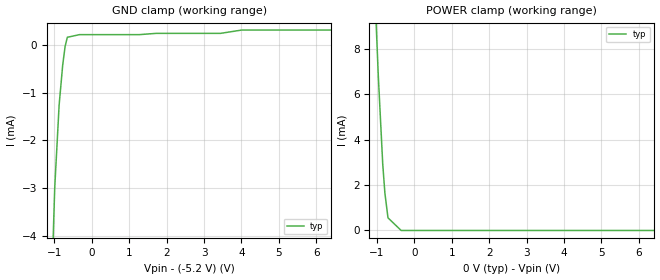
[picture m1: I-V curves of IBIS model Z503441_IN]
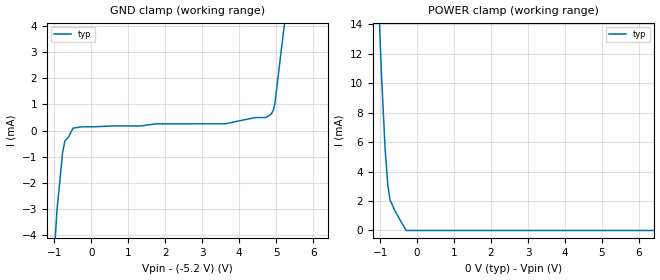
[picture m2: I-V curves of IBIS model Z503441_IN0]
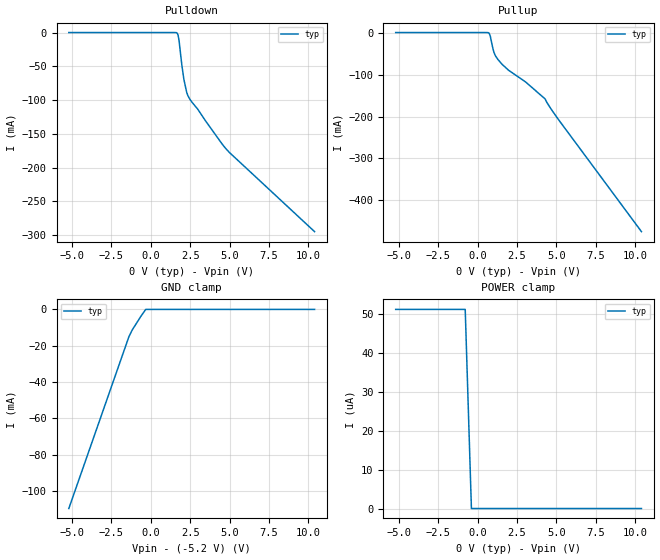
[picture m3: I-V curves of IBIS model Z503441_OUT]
| YOU ARE ONLY AUTHORIZED TO USE THIS SOFTWARE
| ACCORDING TO LICENSOR'S LICENSE RESTRICTIONS.
[IBIS Ver] 3.1
[File Name] mc10h113p.ibs
[File Rev] 2.0
[Source] Measured and created by ICX Technology
[Date] Friday 7/14/00 9:07:50 AM
[Copyright]
| (C) COPYRIGHT 1993-2000
| MENTOR GRAPHICS CORPORATION
| ICX STANDARD LIBRARY, ICX PROJECT MODELING,
| ICX CUSTOM MODELING, ICX VENDOR MODEL
| ALL RIGHTS RESERVED.
| THE FOLLOWING ARE TRADEMARKS OR SERVICE MARKS OF
| MENTOR GRAPHICS CORPORATION:ICX (R), ICX STANDARD
| LIBRARY(R), ICX PROJECT MODELING(R), ICX CUSTOM
| MODELING(R), qualityIBIS(TM), MODELVIEWER(TM),
| AND MODELEDITOR(TM)
| ALL COPIES OF SOFTWARE, INCLUDING BUT NOT LIMITED TO
| ANY MODIFICATIONS, ENHANCEMENTS OR DERIVATIVE WORKS,
| MUST CONTAIN ALL MENTOR GRAPHICS CORPORATION'S
| NOTICES AND LEGENDS, INCLUDING THOSE EMBEDDED IN
| SOFTWARE AND THOSE AFFIXED TO SOFTWARE MEDIUM
| AND CONTAINER, AS RECEIVED FROM MENTOR GRAPHICS
| CORPORATION.
|  ZAP Model Builder 2.7
[Component] MC10H113P
[Manufacturer] OnSemiconductor
[Package]
| variable   typ   min   max
R_pkg  .212ohms NA NA
L_pkg  4.758nH NA NA
C_pkg  1.143pF NA NA
[Pin] signal_name  model_name  R_pin  L_pin C_pin
1 VCC1 GND .224 7.258n 1.578p
2 AOUT Z503441_OUT .216 5.258n 1.288p
3 BOUT Z503441_OUT .208 3.758n .998p
4 AIN Z503441_IN .2 2.758n .708p
5 AIN Z503441_IN .2 2.758n .708p
6 BIN Z503441_IN .208 3.758n .998p
7 BIN Z503441_IN .216 5.258n 1.288p
8 VEE POWER .224 7.258n 1.578p
9 _ENABLE Z503441_IN0 .224 7.258n 1.578p
10 CIN Z503441_IN .216 5.258n 1.288p
11 CIN Z503441_IN .208 3.758n .998p
12 DIN Z503441_IN .2 2.758n .708p
13 DIN Z503441_IN .2 2.758n .708p
14 COUT Z503441_OUT .208 3.758n .998p
15 DOUT Z503441_OUT .216 5.258n 1.288p
16 VCC2 GND .224 7.258n 1.578p
| Models and submodels in the file (3): Z503441_IN (Input_ECL), Z503441_IN0 (Input_ECL), Z503441_OUT (Output_ECL)
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| (C) COPYRIGHT 1993-2000
| MENTOR GRAPHICS CORPORATION
| ICX STANDARD LIBRARY, ICX PROJECT MODELING,
| ICX CUSTOM MODELING, ICX VENDOR MODEL
| ALL RIGHTS RESERVED.
| THE FOLLOWING ARE TRADEMARKS OR SERVICE MARKS OF
| MENTOR GRAPHICS CORPORATION:ICX (R), ICX STANDARD
| LIBRARY(R), ICX PROJECT MODELING(R), ICX CUSTOM
| MODELING(R), qualityIBIS(TM), MODELVIEWER(TM),
| AND MODELEDITOR(TM)
| ALL COPIES OF SOFTWARE, INCLUDING BUT NOT LIMITED TO
| ANY MODIFICATIONS, ENHANCEMENTS OR DERIVATIVE WORKS,
| MUST CONTAIN ALL MENTOR GRAPHICS CORPORATION'S
| NOTICES AND LEGENDS, INCLUDING THOSE EMBEDDED IN
| SOFTWARE AND THOSE AFFIXED TO SOFTWARE MEDIUM
| AND CONTAINER, AS RECEIVED FROM MENTOR GRAPHICS
| CORPORATION.
| Model Application Version 1.89 2/18/99.
[Model] Z503441_IN
Model_type Input_ECL
Vinl = -1.480V
Vinh = -1.130V
C_comp 4.000pF NA NA
| variable typ   min   max
[Voltage Range] -5.200V NA NA
[GND Clamp Reference] -5.200V NA NA
[POWER Clamp Reference] 0.000V NA NA
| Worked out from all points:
|   GND clamp passes 1 mA (typ) near -0.84 V on its own axis
|   POWER clamp passes 1 mA (typ) near -0.74 V on its own axis
[GND Clamp]
-5.2V     -298.1mA   NA         NA
-1.106V   -5.878mA   NA         NA
-991mV    -2.993mA   NA         NA
-873mV    -1.258mA   NA         NA
-777mV    -420.4uA   NA         NA
-713mV    -36.83uA   NA         NA
-654mV    152.9uA    NA         NA
-327mV    208.3uA    NA         NA
3.438V    234.6uA    NA         NA
4.011V    304.1uA    NA         NA
10.4V     304.1uA    NA         NA
[POWER Clamp]
-5.2V     204.5mA    NA         NA
-1.362V   23.72mA    NA         NA
-1.074V   11.27mA    NA         NA
-961.1mV  6.774mA    NA         NA
-843.3mV  2.914mA    NA         NA
-785.8mV  1.647mA    NA         NA
-703.2mV  556.5uA    NA         NA
-351.6mV  0A         NA         NA
10.4V     0A         NA         NA
| (C) COPYRIGHT 1993-2000
| MENTOR GRAPHICS CORPORATION
| ICX STANDARD LIBRARY, ICX PROJECT MODELING,
| ICX CUSTOM MODELING, ICX VENDOR MODEL
| ALL RIGHTS RESERVED.
| THE FOLLOWING ARE TRADEMARKS OR SERVICE MARKS OF
| MENTOR GRAPHICS CORPORATION:ICX (R), ICX STANDARD
| LIBRARY(R), ICX PROJECT MODELING(R), ICX CUSTOM
| MODELING(R), qualityIBIS(TM), MODELVIEWER(TM),
| AND MODELEDITOR(TM)
| ALL COPIES OF SOFTWARE, INCLUDING BUT NOT LIMITED TO
| ANY MODIFICATIONS, ENHANCEMENTS OR DERIVATIVE WORKS,
| MUST CONTAIN ALL MENTOR GRAPHICS CORPORATION'S
| NOTICES AND LEGENDS, INCLUDING THOSE EMBEDDED IN
| SOFTWARE AND THOSE AFFIXED TO SOFTWARE MEDIUM
| AND CONTAINER, AS RECEIVED FROM MENTOR GRAPHICS
| CORPORATION.
| Model Application Version 1.89 2/18/99.
[Model] Z503441_IN0
Model_type Input_ECL
Vinl = -1.480V
Vinh = -1.130V
C_comp 4.000pF NA NA
| variable typ   min   max
[Voltage Range] -5.200V NA NA
[GND Clamp Reference] -5.200V NA NA
[POWER Clamp Reference] 0.000V NA NA
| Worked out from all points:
|   GND clamp passes 1 mA (typ) near -0.79 V on its own axis
[GND Clamp]
-5.2V     -365.2mA   NA         NA
-1.029V   -5.381mA   NA         NA
-928mV    -3.053mA   NA         NA
-776mV    -848.4uA   NA         NA
-713mV    -401.7uA   NA         NA
-493mV    92.05uA    NA         NA
3.623V    257.5uA    NA         NA
4.722V    495.9uA    NA         NA
4.868V    627.6uA    NA         NA
4.931V    807uA      NA         NA
4.97V     1.096mA    NA         NA
10.4V     64.67mA    NA         NA
[POWER Clamp]
-5.2V     1.126A     NA         NA
-1.704V   39.09mA    NA         NA
-1.362V   39.09mA    NA         NA
-1.343V   38.51mA    NA         NA
-1.128V   21.35mA    NA         NA
-960.6mV  10.45mA    NA         NA
-864.3mV  5.525mA    NA         NA
-790.8mV  3.065mA    NA         NA
-732.4mV  2.079mA    NA         NA
-595.7mV  1.32mA     NA         NA
-297.9mV  0A         NA         NA
10.4V     0A         NA         NA
| (C) COPYRIGHT 1993-2000
| MENTOR GRAPHICS CORPORATION
| ICX STANDARD LIBRARY, ICX PROJECT MODELING,
| ICX CUSTOM MODELING, ICX VENDOR MODEL
| ALL RIGHTS RESERVED.
| THE FOLLOWING ARE TRADEMARKS OR SERVICE MARKS OF
| MENTOR GRAPHICS CORPORATION:ICX (R), ICX STANDARD
| LIBRARY(R), ICX PROJECT MODELING(R), ICX CUSTOM
| MODELING(R), qualityIBIS(TM), MODELVIEWER(TM),
| AND MODELEDITOR(TM)
| ALL COPIES OF SOFTWARE, INCLUDING BUT NOT LIMITED TO
| ANY MODIFICATIONS, ENHANCEMENTS OR DERIVATIVE WORKS,
| MUST CONTAIN ALL MENTOR GRAPHICS CORPORATION'S
| NOTICES AND LEGENDS, INCLUDING THOSE EMBEDDED IN
| SOFTWARE AND THOSE AFFIXED TO SOFTWARE MEDIUM
| AND CONTAINER, AS RECEIVED FROM MENTOR GRAPHICS
| CORPORATION.
| Model Application Version 1.89 2/18/99.
[Model] Z503441_OUT
Model_type Output_ECL
Vref=-2.000V
Rref=50.00ohms
Cref=0.000F
Vmeas=-1.305V
C_comp 8.000pF NA NA
| variable typ   min   max
[Voltage Range] -5.200V NA NA
[POWER Clamp Reference] 0.000V NA NA
[Pullup Reference] 0.000V NA NA
[Pulldown Reference] 0.000V NA NA
[GND Clamp Reference] -5.200V NA NA
[GND Clamp]
-5.2V     -109.7mA   NA         NA
-1.39V    -15.14mA   NA         NA
-1.18V    -11.39mA   NA         NA
-640mV    -4.004mA   NA         NA
-320mV    0A         NA         NA
10.4V     0A         NA         NA
[Pulldown]
-5.2V     212.9uA    NA         NA
1.685V    -917.6uA   NA         NA
1.74V     -4.185mA   NA         NA
1.797V    -11.45mA   NA         NA
1.973V    -47.74mA   NA         NA
2.107V    -69.55mA   NA         NA
2.285V    -88.58mA   NA         NA
2.495V    -99.06mA   NA         NA
2.983V    -113.3mA   NA         NA
4.541V    -165.2mA   NA         NA
4.987V    -177.3mA   NA         NA
10.4V     -294.7mA   NA         NA
[Pullup]
-5.2V     167.8uA    NA         NA
730.8mV   -1.47mA    NA         NA
800.8mV   -7.853mA   NA         NA
966.9mV   -37.47mA   NA         NA
1.035V    -46.88mA   NA         NA
1.275V    -63.35mA   NA         NA
1.968V    -89.78mA   NA         NA
3.054V    -117.8mA   NA         NA
4.287V    -158.2mA   NA         NA
4.678V    -183mA     NA         NA
5.112V    -206.2mA   NA         NA
10.4V     -474.3mA   NA         NA
[POWER Clamp]
-5.2V     51.2uA     NA         NA
-786.4mV  51.2uA     NA         NA
-393.2mV  0A         NA         NA
10.4V     0A         NA         NA
[Ramp]
| variable typ min max
dV/dt_r 518.8m/1.333n NA NA
dV/dt_f 518.8m/1.250n NA NA
R_load = 50.00Ohms
